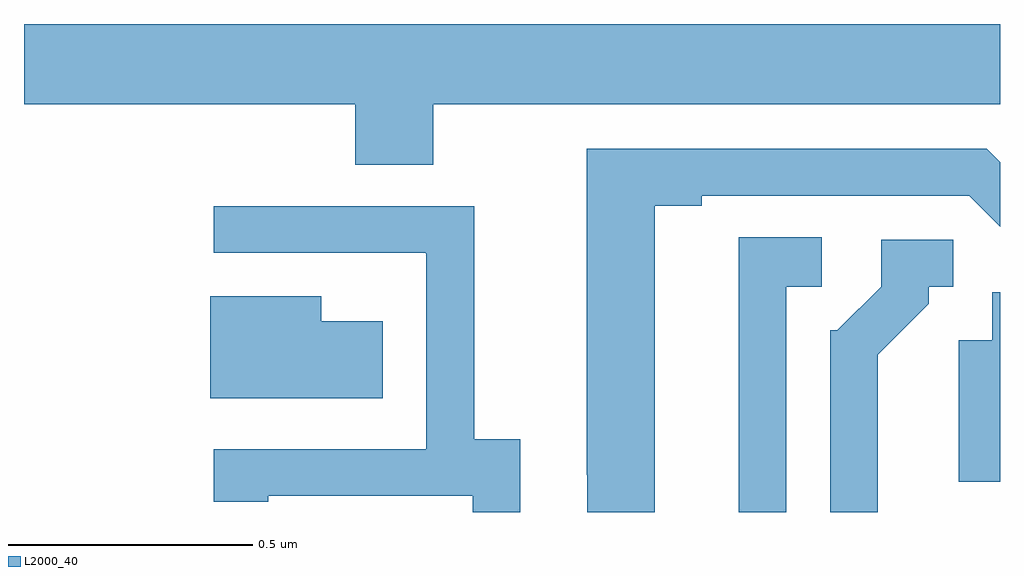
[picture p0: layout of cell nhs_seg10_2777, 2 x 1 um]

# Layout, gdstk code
import gdstk
lib = gdstk.Library(unit=1e-6, precision=1e-09)
def P(c, l, *ps):  # polygons
    for p in ps: c.add(gdstk.Polygon(p, *l))
L2000_40 = (2000, 40)

nhs_seg10_2777 = lib.new_cell('nhs_seg10_2777')
P(nhs_seg10_2777, L2000_40, [(145.839,1280.336),(147,1280.336),(147,1280.5),(145,1280.5),(145,1280.336),(145.679,1280.336),(145.679,1280.212),(145.839,1280.212)],
  [(146.293,1280.128),(146.389,1280.128),(146.389,1280.148),(146.937,1280.148),(147,1280.085),(147,1280.217),(146.973,1280.244),(146.153,1280.244),(146.153,1279.576),(146.154,1279.576),(146.154,1279.5),(146.293,1279.5)],
  [(146.017,1279.649),(145.923,1279.649),(145.923,1280.127),(145.389,1280.127),(145.389,1280.031),(145.823,1280.031),(145.823,1280.03),(145.824,1280.03),(145.824,1279.629),(145.389,1279.629),(145.389,1279.521),(145.501,1279.521),(145.501,1279.533),(145.92,1279.533),(145.92,1279.5),(146.017,1279.5)],
  [(146.562,1279.962),(146.635,1279.962),(146.635,1280.063),(146.465,1280.063),(146.465,1279.5),(146.562,1279.5)],
  [(146.749,1279.822),(146.854,1279.927),(146.854,1279.962),(146.904,1279.962),(146.904,1280.058),(146.757,1280.058),(146.757,1279.962),(146.667,1279.872),(146.652,1279.872),(146.652,1279.5),(146.749,1279.5)],
  [(147,1279.95),(146.984,1279.95),(146.984,1279.852),(146.915,1279.852),(146.915,1279.562),(147,1279.562)],
  [(145.735,1279.891),(145.609,1279.891),(145.609,1279.942),(145.382,1279.942),(145.382,1279.733),(145.735,1279.733)])

lib.write_gds('nhs_seg10_2777.gds')
